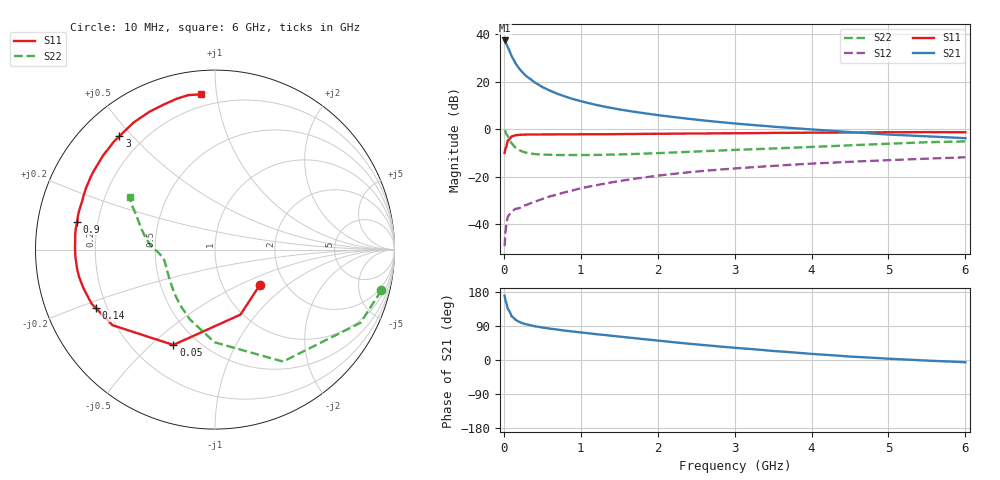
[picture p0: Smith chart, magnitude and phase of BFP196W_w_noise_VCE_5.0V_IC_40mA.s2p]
! Infineon Technologies  Discrete & RF Semiconductors
! BFP196W
! VCE =  5.0 V,  IC =  40 mA
! Common Emitter S-Parameters:  Jan 2017
# GHz  S  MA  R  50
!  f  S11  S21  S12  S22
! GHz  MAG  ANG  MAG  ANG  MAG  ANG  MAG  ANG
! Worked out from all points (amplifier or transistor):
!   77 points, 10 MHz to 6 GHz, reference 50 ohm
!   highest |S21| = 37.3 dB at 10 MHz (marker M1)
!   |S21| within 3 dB of that: start of sweep to 54.39 MHz
!   unconditionally stable (mu >= 1): 756 MHz to 3.284 GHz
!   at 130 MHz: K = 0.38, MSG = 31.5 dB, |S12| = -33.9 dB
!   at 2.2 GHz: K = 1.04, MAG = 10.7 dB, |S12| = -18.8 dB
!   at 6 GHz: K = 0.94, MSG = 4.0 dB, |S12| = -11.8 dB
!   lowest NFmin = 1.24 dB at 450 MHz
!   S11 on the Smith chart (normalised r, x): 10 MHz: 1.50, -0.65; 50 MHz: 0.37, -0.59; 140 MHz: 0.16, -0.23; 900 MHz: 0.12, +0.10; 3 GHz: 0.12, +0.46; 6 GHz: 0.13, +0.90
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0.01  0.3183 -38.0  73.67 169.6  0.0035 75.5  0.9544 -13.8
0.02  0.3889 -68.6  70.08 158.8  0.0066 74.4  0.9074 -26.7
0.05  0.5796 -113.6  54.05 135.5  0.0144 54.7  0.7302 -58.7
0.1  0.7095 -143.6  34.63 115.7  0.0185 43.1  0.5164 -90.3
0.14  0.7396 -153.9  26.54 108.8  0.0207 40.6  0.4297 -105.1
0.15  0.7507 -156.3  24.61 106.4  0.0213 40.0  0.4137 -109.7
0.2  0.7635 -163.5  18.86 100.6  0.022 40.8  0.3657 -121.9
0.25  0.7723 -168.5  15.26 96.5  0.0247 42.2  0.337 -131.1
0.3  0.7758 -172.1  12.77 93.7  0.026 44.5  0.3198 -137.7
0.4  0.7789 -177.2  9.676 89.1  0.03 48.4  0.3027 -146.7
0.5  0.78 179.2  7.753 85.7  0.0343 51.6  0.2943 -152.7
0.6  0.7807 176.0  6.485 82.7  0.0389 54.3  0.2918 -156.8
0.7  0.7835 173.5  5.554 80.2  0.043 56.9  0.2881 -160.0
0.9  0.7828 168.5  4.319 75.1  0.0522 58.9  0.2884 -164.1
1.1  0.7875 164.3  3.556 70.6  0.0621 60.1  0.2887 -167.3
1.5  0.7933 156.3  2.623 61.9  0.0816 59.8  0.297 -172.1
2.1  0.8066 145.0  1.901 49.3  0.1106 56.6  0.3203 -177.8
3  0.8263 130.1  1.326 32.2  0.1504 49.7  0.3692 174.4
3.1  0.8281 128.6  1.286 30.7  0.1543 48.9  0.3742 173.4
4.1  0.8509 114.3  0.969 14.8  0.1933 40.6  0.4326 163.1
5.1  0.8678 103.5  0.763 2.5  0.228 32.8  0.5054 153.6
6  0.8682 95.2  0.651 -6.0  0.2582 25.8  0.557 148.5
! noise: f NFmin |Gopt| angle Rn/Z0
0.45  1.24  0.48  -179  0.06
0.9  1.39  0.54  -173  0.06
1.9  2.21  0.69  -150  0.14
2.4  2.61  0.73  -145  0.23
